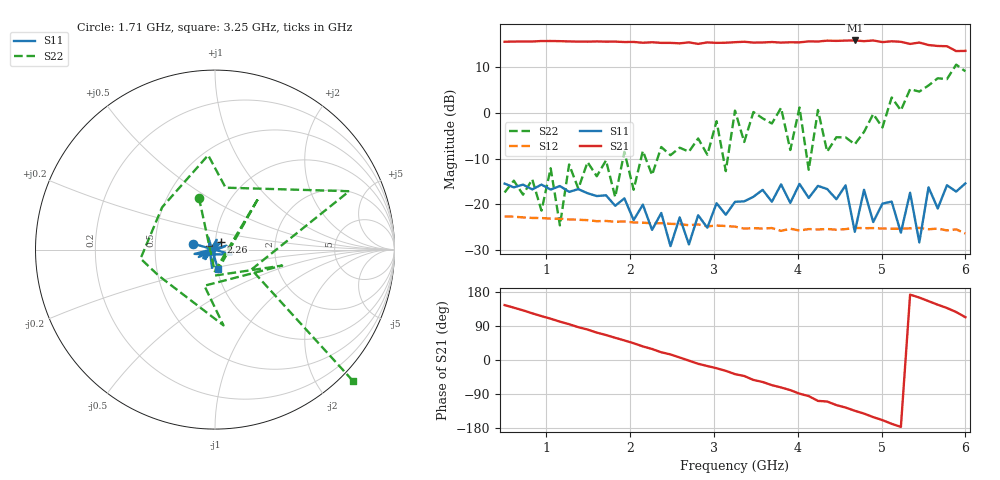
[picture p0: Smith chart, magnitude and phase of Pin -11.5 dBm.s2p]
! RsaToolbox (C) 2015 Rohde & Schwarz America
! Number of points: 51
! Number of ports: 2
! Balanced ports?: No
# Hz S RI R 50
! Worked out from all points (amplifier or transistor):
!   51 points, 500 MHz to 6 GHz, reference 50 ohm
!   highest |S21| = 15.9 dB at 4.68 GHz (marker M1)
!   |S21| within 3 dB of that: start of sweep to end of sweep
!   unconditionally stable (mu >= 1): start of sweep to 3.005 GHz; 3.046 GHz to 3.218 GHz; 4.291 GHz to 4.794 GHz (the widest 3 of 6)
!   at 1.38 GHz: K = 1.36, MAG = 15.9 dB, |S12| = -23.4 dB
!   at 3.25 GHz: K = 0.04, MSG = 20.2 dB, |S12| = -24.9 dB
!   at 6 GHz: K = -14.87, MSG = 20.0 dB, |S12| = -26.4 dB
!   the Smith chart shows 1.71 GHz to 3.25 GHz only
!   S11 on the Smith chart (normalised r, x): 1.71 GHz: 0.78, +0.05; 2.26 GHz: 1.07, +0.09; 3.25 GHz: 1.01, -0.22
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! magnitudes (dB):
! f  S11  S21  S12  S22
! 500 MHz  -15.4  15.6  -22.6  -17.4
! 940 MHz  -15.7  15.8  -23.0  -21.4
! 1.05 GHz  -16.7  15.8  -23.1  -12.1
! 1.16 GHz  -16.0  15.7  -23.1  -24.6
! 1.27 GHz  -17.3  15.7  -23.3  -11.3
! 1.49 GHz  -17.6  15.6  -23.4  -10.7
! 1.71 GHz  -18.0  15.6  -23.6  -10.4
! 2.26 GHz  -25.6  15.5  -24.1  -13.6
! 2.37 GHz  -21.9  15.4  -24.1  -7.4
! 2.7 GHz  -28.8  15.5  -24.6  -8.5
! 3.03 GHz  -19.7  15.4  -24.6  -1.8
! 3.14 GHz  -22.3  15.4  -24.7  -12.7
! 3.25 GHz  -19.4  15.5  -24.9  0.5
! 3.91 GHz  -19.7  15.5  -25.3  -8.1
! 4.02 GHz  -15.5  15.5  -25.7  1.2
! 4.13 GHz  -18.6  15.7  -25.4  -12.4
! 4.24 GHz  -15.9  15.7  -25.5  0.7
! 4.68 GHz  -26.0  15.9  -25.1  -6.8
! 5.12 GHz  -19.4  15.7  -25.3  3.4
! 5.45 GHz  -28.3  15.4  -25.1  4.7
! 5.56 GHz  -16.3  14.9  -25.4  6.0
! 6 GHz  -15.4  13.6  -26.4  9.1
